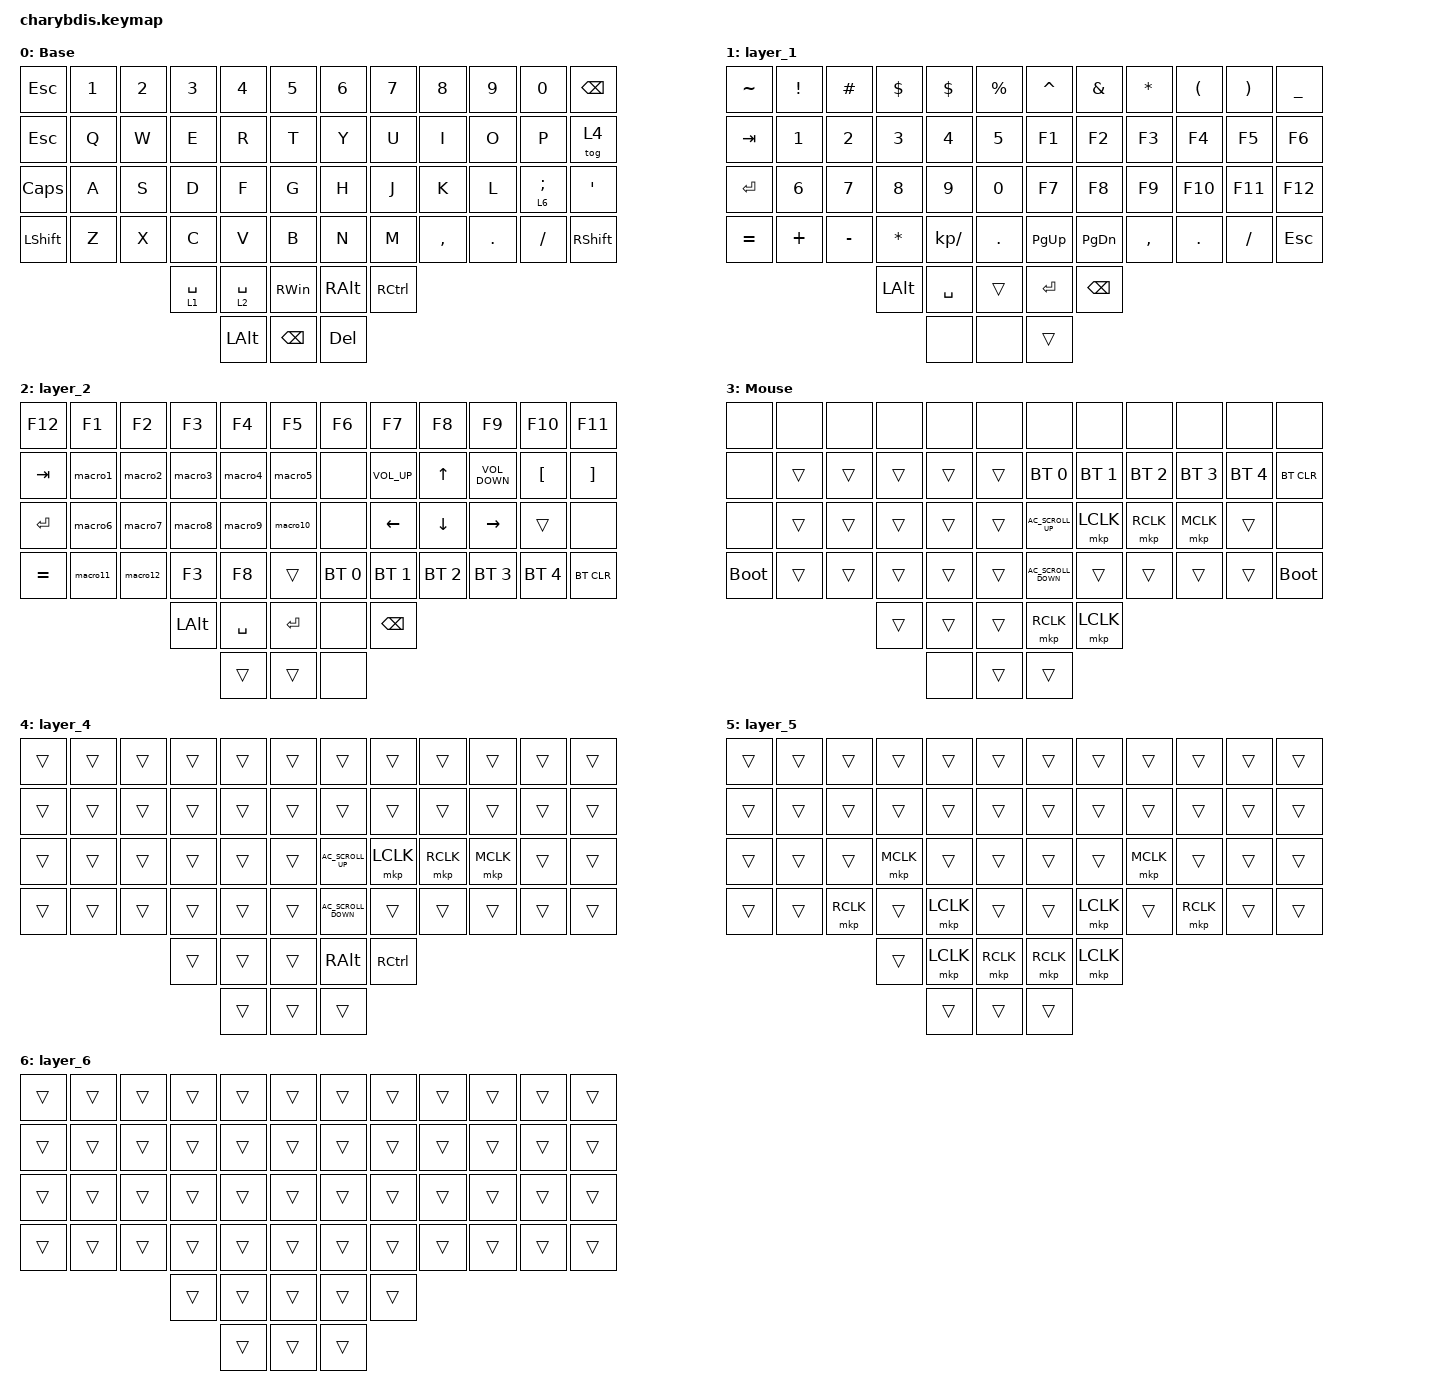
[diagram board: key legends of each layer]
#include <behaviors.dtsi>
#include <dt-bindings/zmk/bt.h>
#include <dt-bindings/zmk/keys.h>
#include <dt-bindings/zmk/mouse.h>

&lt {
    tapping-term-ms = <200>;
    flavor = "balanced";
    quick-tap-ms = <150>;
};

/ {
    macros {
        macro1: macro1 {
            compatible = "zmk,behavior-macro";
            #binding-cells = <0>;
            bindings = <&kp LS(P) &kp LS(L) &kp RET>;
            label = "MACRO1";
        };

        macro2: macro2 {
            compatible = "zmk,behavior-macro";
            #binding-cells = <0>;
            bindings = <&kp LS(O) &kp RET>;
            label = "MACRO2";
        };

        macro3: macro3 {
            compatible = "zmk,behavior-macro";
            #binding-cells = <0>;
            bindings = <&kp LS(M) &kp RET>;
            label = "MACRO3";
        };

        macro4: macro4 {
            compatible = "zmk,behavior-macro";
            #binding-cells = <0>;
            bindings = <&kp LS(M) &kp LS(A) &kp RET>;
            label = "MACRO4";
        };

        macro5: macro5 {
            compatible = "zmk,behavior-macro";
            #binding-cells = <0>;
            bindings = <&kp LS(R) &kp LS(O) &kp RET>;
            label = "MACRO5";
        };

        macro6: macro6 {
            compatible = "zmk,behavior-macro";
            #binding-cells = <0>;
            bindings = <&kp LS(W) &kp LS(Z) &kp LS(S) &kp RET>;
            label = "MACRO6";
        };

        macro7: macro7 {
            compatible = "zmk,behavior-macro";
            #binding-cells = <0>;
            bindings = <&kp LS(Z) &kp LS(S) &kp RET>;
            label = "MACRO7";
        };

        macro8: macro8 {
            compatible = "zmk,behavior-macro";
            #binding-cells = <0>;
            bindings = <&kp LS(D) &kp LS(I) &kp RET>;
            label = "MACRO8";
        };

        macro9: macro9 {
            compatible = "zmk,behavior-macro";
            #binding-cells = <0>;
            bindings = <&kp LS(P) &kp RET>;
            label = "MACRO9";
        };

        macro10: macro10 {
            compatible = "zmk,behavior-macro";
            #binding-cells = <0>;
            bindings = <&kp LS(M) &kp LS(I) &kp RET>;
            label = "MACRO10";
        };

        macro11: macro11 {
            compatible = "zmk,behavior-macro";
            #binding-cells = <0>;
            bindings = <&kp LS(R) &kp LS(E) &kp LS(F) &kp LS(E) &kp LS(D) &kp LS(I) &kp LS(T) &kp RET>;
            label = "MACRO11";
        };

        macro12: macro12 {
            compatible = "zmk,behavior-macro";
            #binding-cells = <0>;
            bindings = <&kp LS(R) &kp LS(E) &kp LS(F) &kp LS(C) &kp LS(L) &kp LS(O) &kp LS(S) &kp LS(E) &kp RET>;
            label = "MACRO12";
        };
    };

    keymap {
        compatible = "zmk,keymap";

        Base {
            bindings = <
&kp ESC         &kp N1  &kp N2  &kp N3       &kp N4        &kp N5           &kp N6         &kp N7     &kp N8     &kp N9   &kp N0           &kp BSPC
&kp ESC         &kp Q   &kp W   &kp E        &kp R         &kp T            &kp Y          &kp U      &kp I      &kp O    &kp P            &tog 4
&kp CAPS        &kp A   &kp S   &kp D        &kp F         &kp G            &kp H          &kp J      &kp K      &kp L    &lt 6 SEMICOLON  &kp SQT
&kp LEFT_SHIFT  &kp Z   &kp X   &kp C        &kp V         &kp B            &kp N          &kp M      &kp COMMA  &kp DOT  &kp SLASH        &kp RIGHT_SHIFT
                                &lt 1 SPACE  &lt 2 SPACE   &kp RIGHT_WIN    &kp RIGHT_ALT  &kp RCTRL
                                             &kp LEFT_ALT  &kp BACKSPACE    &kp DEL
            >;

            trackball-bindings = <&tmv_coarse>;
        };

        layer_1 {
            bindings = <
&kp TILDE  &kp EXCLAMATION  &kp HASH      &kp DOLLAR    &kp DOLLAR     &kp PERCENT    &kp CARET    &kp AMPERSAND  &kp ASTERISK  &kp LEFT_PARENTHESIS  &kp RIGHT_PARENTHESIS  &kp UNDERSCORE
&kp TAB    &kp NUMBER_1     &kp NUMBER_2  &kp NUMBER_3  &kp NUMBER_4   &kp N5         &kp F1       &kp F2         &kp F3        &kp F4                &kp F5                 &kp F6
&kp ENTER  &kp NUMBER_6     &kp N7        &kp N8        &kp N9         &kp N0         &kp F7       &kp F8         &kp F9        &kp F10               &kp F11                &kp F12
&kp EQUAL  &kp PLUS         &kp MINUS     &kp ASTERISK  &kp KP_DIVIDE  &kp DOT        &kp PAGE_UP  &kp PAGE_DOWN  &kp COMMA     &kp PERIOD            &kp SLASH              &kp ESC
                                          &kp LEFT_ALT  &kp SPACE      &trans         &kp ENTER    &kp BACKSPACE
                                                        &none          &none          &trans
            >;
        };

        layer_2 {
            bindings = <
&kp F12    &kp F1    &kp F2    &kp F3        &kp F4     &kp F5       &kp F6        &kp F7           &kp F8          &kp F9             &kp F10           &kp F11
&kp TAB    &macro1   &macro2   &macro3       &macro4    &macro5      &none         &kp C_VOLUME_UP  &kp UP_ARROW    &kp C_VOLUME_DOWN  &kp LEFT_BRACKET  &kp RIGHT_BRACKET
&kp ENTER  &macro6   &macro7   &macro8       &macro9    &macro10     &none         &kp LEFT_ARROW   &kp DOWN_ARROW  &kp RIGHT          &trans            &none
&kp EQUAL  &macro11  &macro12  &kp F3        &kp F8     &trans       &bt BT_SEL 0  &bt BT_SEL 1     &bt BT_SEL 2    &bt BT_SEL 3       &bt BT_SEL 4      &bt BT_CLR
                               &kp LEFT_ALT  &kp SPACE  &kp ENTER    &none         &kp BACKSPACE
                                             &trans     &trans       &none
            >;
        };

        Mouse {
            bindings = <
&none        &none   &none   &none   &none   &none     &none                 &none         &none         &none         &none         &none
&none        &trans  &trans  &trans  &trans  &trans    &bt BT_SEL 0          &bt BT_SEL 1  &bt BT_SEL 2  &bt BT_SEL 3  &bt BT_SEL 4  &bt BT_CLR
&none        &trans  &trans  &trans  &trans  &trans    &kp C_AC_SCROLL_UP    &mkp LCLK     &mkp RCLK     &mkp MCLK     &trans        &none
&bootloader  &trans  &trans  &trans  &trans  &trans    &kp C_AC_SCROLL_DOWN  &trans        &trans        &trans        &trans        &bootloader
                             &trans  &trans  &trans    &mkp RCLK             &mkp LCLK
                                     &none   &trans    &trans
            >;
        };

        layer_4 {
            bindings = <
&trans  &trans  &trans  &trans  &trans  &trans    &trans                &trans     &trans     &trans     &trans  &trans
&trans  &trans  &trans  &trans  &trans  &trans    &trans                &trans     &trans     &trans     &trans  &trans
&trans  &trans  &trans  &trans  &trans  &trans    &kp C_AC_SCROLL_UP    &mkp LCLK  &mkp RCLK  &mkp MCLK  &trans  &trans
&trans  &trans  &trans  &trans  &trans  &trans    &kp C_AC_SCROLL_DOWN  &trans     &trans     &trans     &trans  &trans
                        &trans  &trans  &trans    &kp RIGHT_ALT         &kp RCTRL
                                &trans  &trans    &trans
            >;
        };

        layer_5 {
            bindings = <
&trans  &trans  &trans     &trans     &trans     &trans       &trans     &trans     &trans     &trans     &trans  &trans
&trans  &trans  &trans     &trans     &trans     &trans       &trans     &trans     &trans     &trans     &trans  &trans
&trans  &trans  &trans     &mkp MCLK  &trans     &trans       &trans     &trans     &mkp MCLK  &trans     &trans  &trans
&trans  &trans  &mkp RCLK  &trans     &mkp LCLK  &trans       &trans     &mkp LCLK  &trans     &mkp RCLK  &trans  &trans
                           &trans     &mkp LCLK  &mkp RCLK    &mkp RCLK  &mkp LCLK
                                      &trans     &trans       &trans
            >;

            trackball-bindings = <&tmv_fine>;
        };

        layer_6 {
            bindings = <
&trans  &trans  &trans  &trans  &trans  &trans    &trans  &trans  &trans  &trans  &trans  &trans
&trans  &trans  &trans  &trans  &trans  &trans    &trans  &trans  &trans  &trans  &trans  &trans
&trans  &trans  &trans  &trans  &trans  &trans    &trans  &trans  &trans  &trans  &trans  &trans
&trans  &trans  &trans  &trans  &trans  &trans    &trans  &trans  &trans  &trans  &trans  &trans
                        &trans  &trans  &trans    &trans  &trans
                                &trans  &trans    &trans
            >;

            trackball-bindings = <&tsl>;
        };
    };
};
